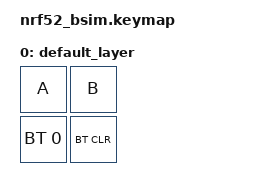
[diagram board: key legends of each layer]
#include <behaviors.dtsi>
#include <dt-bindings/zmk/bt.h>
#include <dt-bindings/zmk/keys.h>
#include <dt-bindings/zmk/kscan_mock.h>

&kscan {
    events = <ZMK_MOCK_PRESS(1,1,5000)
              ZMK_MOCK_RELEASE(1,1,200)
              ZMK_MOCK_PRESS(0,0,10)
              ZMK_MOCK_RELEASE(0,0,2000)>;
};

/ {
    keymap {
        compatible = "zmk,keymap";

        default_layer {
            bindings = <&kp A &kp B
                        &bt BT_SEL 0 &bt BT_CLR>;
        };
    };
};
